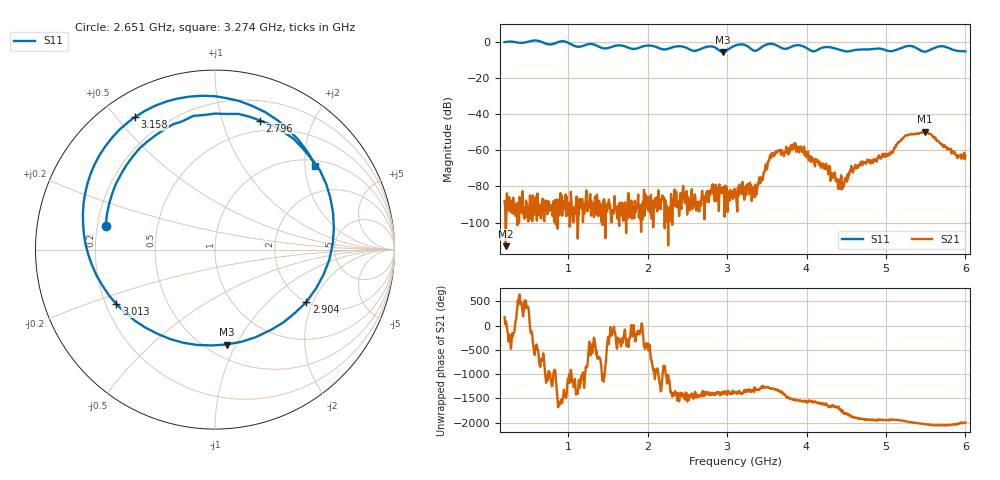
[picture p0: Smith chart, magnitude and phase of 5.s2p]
! NanoVNA-App
! Date: 2024-06-25 16:10:45
! Start: 200MHz Stop: 6GHz Points: 801
! S-Parameter data: F S11 S21 S12 S22
# Hz S RI R 50
!  Frequency  S11_Real  S11_Imag  S21_Real  S21_Imag  S12_Real  S12_Imag  S22_Real  S22_Imag
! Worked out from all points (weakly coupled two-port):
!   801 points, 200 MHz to 6 GHz, reference 50 ohm
!   highest |S21| = -49.65 dB at 5.492 GHz (marker M1); lowest = -113.1 dB at 214.5 MHz (marker M2)
!   lowest |S11| = -5.5 dB at 2.948 GHz (marker M3), VSWR 3.28, Z = 31 - j45.8 ohm
!   |S11| at or under -10 dB: nowhere
!   S12 and S22 are empty: the file has one direction only
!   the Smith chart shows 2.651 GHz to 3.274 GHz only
!   S11 on the Smith chart (normalised r, x): 2.651 GHz: 0.23, +0.10; 2.796 GHz: 0.39, +1.33; 2.904 GHz: 2.01, -1.79; 3.013 GHz: 0.24, -0.24; 3.158 GHz: 0.10, +0.56; 3.274 GHz: 1.13, +2.26
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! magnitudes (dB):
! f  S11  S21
! 200 MHz  0.0  -88.2
! 214.5 MHz  0.1  -113.1
! 1.171 GHz  -2.3  -87.5
! 2.136 GHz  -3.1  -82.2
! 2.651 GHz  -4.1  -93.8
! 2.796 GHz  -2.4  -81.8
! 2.904 GHz  -4.6  -78.9
! 2.948 GHz  -5.5  -80.2
! 3.013 GHz  -4.0  -82.8
! 3.1 GHz  -1.9  -86.0
! 3.158 GHz  -1.3  -79.0
! 3.274 GHz  -2.7  -84.5
! 3.368 GHz  -4.7  -84.7
! 3.644 GHz  -2.2  -60.4
! 3.832 GHz  -2.2  -59.0
! 4.072 GHz  -5.0  -64.2
! 4.449 GHz  -4.7  -81.6
! 4.681 GHz  -4.1  -67.0
! 5.036 GHz  -4.9  -61.6
! 5.253 GHz  -2.4  -51.6
! 5.492 GHz  -5.3  -49.7
! 6 GHz  -5.1  -62.8
